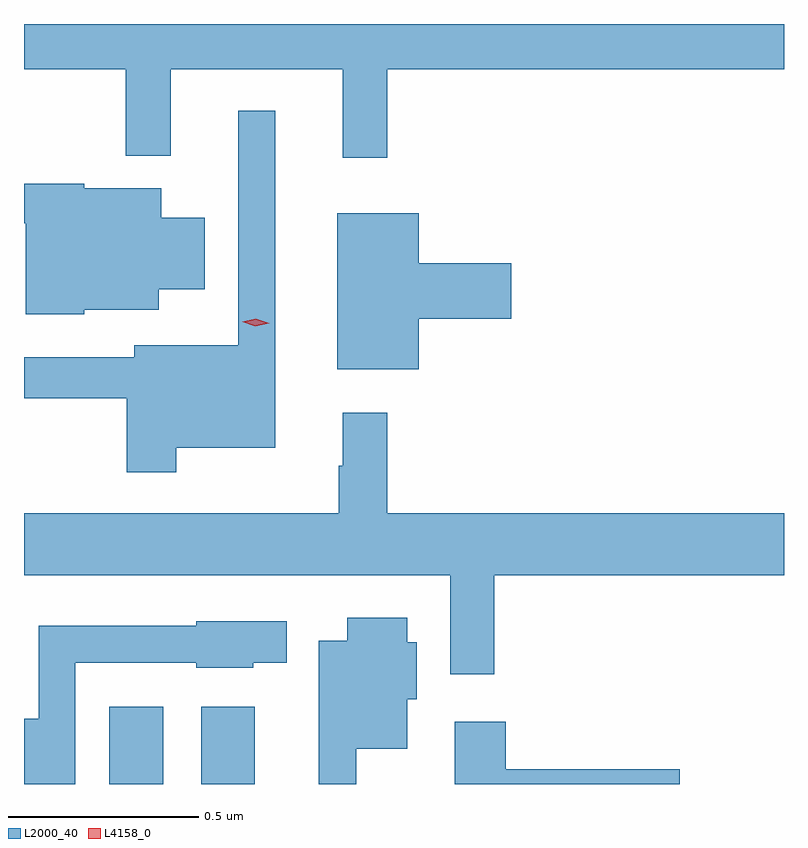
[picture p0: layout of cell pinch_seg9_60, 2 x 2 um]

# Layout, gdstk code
import gdstk
lib = gdstk.Library(unit=1e-6, precision=1e-09)
def R(c, l, rs):  # rectangles x0, y0, x1, y1
    for r in rs: c.add(gdstk.rectangle(r[:2], r[2:], *l))
def P(c, l, *ps):  # polygons
    for p in ps: c.add(gdstk.Polygon(p, *l))
L2000_40 = (2000, 40)
L4158_0 = (4158, 0)

pinch_seg9_60 = lib.new_cell('pinch_seg9_60')
R(pinch_seg9_60, L2000_40, [(909.263,1190.543,909.406,1190.746), (909.506,1190.543,909.646,1190.746)])
P(pinch_seg9_60, L2000_40, [(909.995,1192.424),(911.039,1192.424),(911.039,1192.543),(909.039,1192.543),(909.039,1192.424),(909.307,1192.424),(909.307,1192.196),(909.425,1192.196),(909.425,1192.424),(909.878,1192.424),(909.878,1192.191),(909.995,1192.191)],
  [(909.439,1191.428),(909.7,1191.428),(909.7,1192.315),(909.603,1192.315),(909.603,1191.697),(909.329,1191.697),(909.329,1191.666),(909.039,1191.666),(909.039,1191.558),(909.31,1191.558),(909.31,1191.363),(909.439,1191.363)],
  [(909.198,1191.791),(909.394,1191.791),(909.394,1191.845),(909.514,1191.845),(909.514,1192.033),(909.4,1192.033),(909.4,1192.111),(909.198,1192.111),(909.198,1192.123),(909.039,1192.123),(909.039,1192.019),(909.044,1192.019),(909.044,1191.779),(909.198,1191.779)],
  [(910.078,1191.767),(910.321,1191.767),(910.321,1191.914),(910.078,1191.914),(910.078,1192.045),(909.863,1192.045),(909.863,1191.635),(910.078,1191.635)],
  [(910.277,1191.092),(911.039,1191.092),(911.039,1191.256),(909.995,1191.256),(909.995,1191.52),(909.878,1191.52),(909.878,1191.38),(909.867,1191.38),(909.867,1191.256),(909.039,1191.256),(909.039,1191.092),(910.161,1191.092),(910.161,1190.832),(910.277,1190.832)],
  [(909.913,1190.636),(910.048,1190.636),(910.048,1190.766),(910.072,1190.766),(910.072,1190.916),(910.048,1190.916),(910.048,1190.98),(909.89,1190.98),(909.89,1190.92),(909.815,1190.92),(909.815,1190.543),(909.913,1190.543)],
  [(909.174,1190.862),(909.492,1190.862),(909.492,1190.849),(909.642,1190.849),(909.642,1190.862),(909.73,1190.862),(909.73,1190.971),(909.492,1190.971),(909.492,1190.959),(909.078,1190.959),(909.078,1190.715),(909.039,1190.715),(909.039,1190.543),(909.174,1190.543)],
  [(910.765,1190.582),(910.307,1190.582),(910.307,1190.707),(910.172,1190.707),(910.172,1190.543),(910.765,1190.543)])
P(pinch_seg9_60, L4158_0, [(909.648,1191.748),(909.613,1191.76),(909.613,1191.76),(909.613,1191.76),(909.649,1191.768),(909.684,1191.756),(909.684,1191.756),(909.684,1191.756)])

lib.write_gds('pinch_seg9_60.gds')
